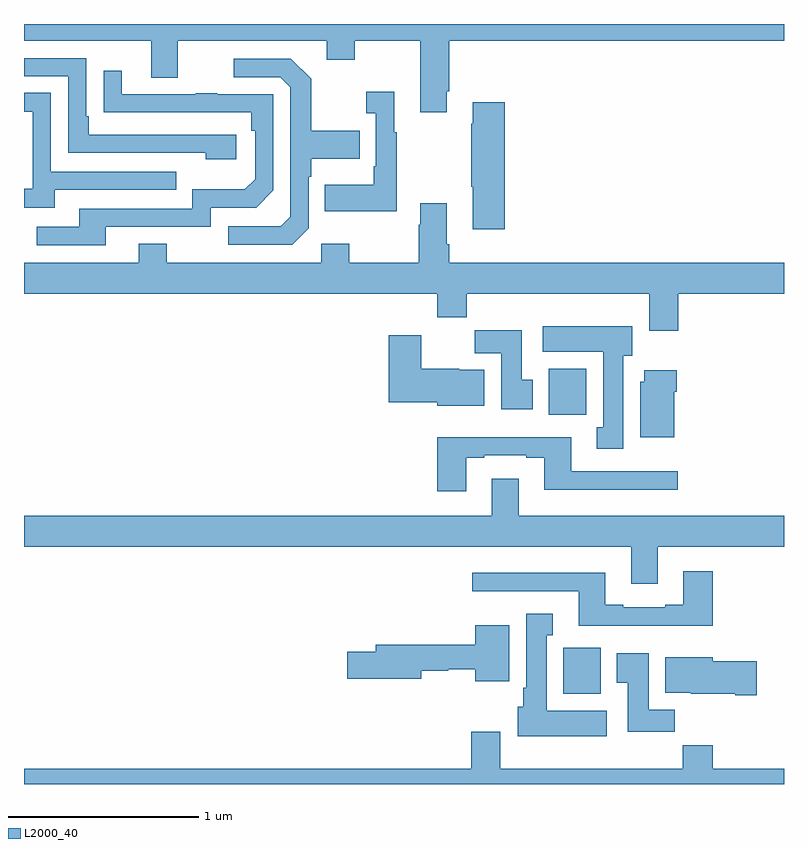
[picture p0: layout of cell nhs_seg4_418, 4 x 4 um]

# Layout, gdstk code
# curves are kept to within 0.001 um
import gdstk
lib = gdstk.Library(unit=1e-6, precision=1e-09)
def R(c, l, rs):  # rectangles x0, y0, x1, y1
    for r in rs: c.add(gdstk.rectangle(r[:2], r[2:], *l))
def P(c, l, *ps):  # polygons
    for p in ps: c.add(gdstk.Polygon(p, *l))
L2000_40 = (2000, 40)

nhs_seg4_418 = lib.new_cell('nhs_seg4_418')
R(nhs_seg4_418, L2000_40, [(133.838,801.374,134.035,801.616), (133.763,802.844,133.96,803.086)])
P(nhs_seg4_418, L2000_40, [(133.225,804.547),(133.238,804.547),(133.238,804.812),(135,804.812),(135,804.9),(131,804.9),(131,804.812),(131.669,804.812),(131.669,804.618),(131.809,804.618),(131.809,804.812),(132.593,804.812),(132.593,804.713),(132.741,804.713),(132.741,804.812),(133.085,804.812),(133.085,804.435),(133.225,804.435)],
  [(132.118,804.318),(131.341,804.318),(131.341,804.415),(131.328,804.415),(131.328,804.72),(131,804.72),(131,804.624),(131.232,804.624),(131.232,804.222),(131.957,804.222),(131.957,804.188),(132.118,804.188)],
  [(132.498,803.826),(132.498,804.095),(132.511,804.095),(132.511,804.191),(132.767,804.191),(132.767,804.339),(132.511,804.339),(132.511,804.611),(132.405,804.717),(132.105,804.717),(132.105,804.621),(132.348,804.621),(132.402,804.567),(132.402,803.886),(132.351,803.835),(132.075,803.835),(132.075,803.739),(132.411,803.739)],
  [(131.431,803.832),(131.982,803.832),(131.982,803.934),(132.222,803.934),(132.312,804.024),(132.312,804.531),(132.017,804.531),(132.017,804.536),(131.905,804.536),(131.905,804.531),(131.515,804.531),(131.515,804.655),(131.419,804.655),(131.419,804.436),(132.196,804.435),(132.196,804.338),(132.216,804.338),(132.216,804.084),(132.163,804.031),(131.886,804.031),(131.886,803.928),(131.291,803.928),(131.291,803.832),(131.067,803.832),(131.067,803.736),(131.431,803.736)],
  [(132.961,804.331),(132.949,804.331),(132.949,804.544),(132.801,804.544),(132.801,804.431),(132.852,804.431),(132.852,804.151),(132.84,804.151),(132.84,804.055),(132.583,804.055),(132.583,803.915),(132.961,803.915)],
  [(131.161,804.027),(131.801,804.027),(131.801,804.123),(131.142,804.123),(131.142,804.539),(131,804.539),(131,804.438),(131.046,804.438),(131.046,804.033),(131,804.033),(131,803.933),(131.161,803.933)],
  [(133.529,804.487),(133.361,804.487),(133.361,804.374),(133.354,804.374),(133.354,804.043),(133.361,804.043),(133.361,803.82),(133.529,803.82)],
  [(134.444,803.48),(135,803.48),(135,803.644),(133.238,803.644),(133.238,803.74),(133.225,803.74),(133.225,803.956),(133.085,803.956),(133.085,803.843),(133.078,803.843),(133.078,803.644),(132.711,803.644),(132.711,803.743),(132.564,803.743),(132.564,803.644),(131.751,803.644),(131.751,803.743),(131.603,803.743),(131.603,803.644),(131,803.644),(131,803.48),(133.175,803.48),(133.175,803.356),(133.331,803.356),(133.331,803.48),(134.291,803.48),(134.291,803.286),(134.444,803.286)],
  [(134.155,803.154),(134.2,803.154),(134.2,803.308),(133.731,803.308),(133.731,803.174),(134.048,803.174),(134.048,802.778),(134.015,802.778),(134.015,802.665),(134.155,802.665)],
  [(133.678,803.028),(133.621,803.028),(133.621,803.287),(133.372,803.287),(133.372,803.168),(133.511,803.168),(133.511,802.872),(133.678,802.872)],
  [(133.423,803.08),(133.29,803.08),(133.29,803.086),(133.09,803.086),(133.09,803.263),(132.92,803.263),(132.92,802.91),(133.176,802.91),(133.176,802.892),(133.423,802.892)],
  [(134.422,802.964),(134.435,802.964),(134.435,803.077),(134.264,803.077),(134.264,803.016),(134.243,803.016),(134.243,802.724),(134.422,802.724)],
  [(133.327,802.617),(133.423,802.617),(133.423,802.629),(133.643,802.629),(133.643,802.617),(133.739,802.617),(133.739,802.448),(134.44,802.448),(134.44,802.545),(133.879,802.545),(133.879,802.726),(133.175,802.726),(133.175,802.44),(133.327,802.44)],
  [(134.335,802.148),(135,802.148),(135,802.312),(133.603,802.312),(133.603,802.507),(133.463,802.507),(133.463,802.312),(131,802.312),(131,802.148),(134.195,802.148),(134.195,801.954),(134.335,801.954)],
  [(134.624,802.021),(134.471,802.021),(134.471,801.844),(134.375,801.844),(134.375,801.831),(134.155,801.831),(134.155,801.844),(134.059,801.844),(134.059,802.012),(133.359,802.012),(133.359,801.915),(133.919,801.915),(133.919,801.734),(134.624,801.734)],
  [(134.068,801.286),(133.75,801.286),(133.75,801.683),(133.783,801.683),(133.783,801.796),(133.643,801.796),(133.643,801.406),(133.628,801.406),(133.628,801.306),(133.598,801.306),(133.598,801.152),(134.068,801.152)],
  [(133.555,801.736),(133.376,801.736),(133.376,801.632),(132.851,801.632),(132.851,801.596),(132.702,801.596),(132.702,801.454),(133.09,801.454),(133.09,801.496),(133.233,801.496),(133.233,801.504),(133.376,801.504),(133.376,801.44),(133.555,801.44)],
  [(134.426,801.292),(134.287,801.292),(134.287,801.589),(134.12,801.589),(134.12,801.433),(134.177,801.433),(134.177,801.174),(134.426,801.174)],
  [(134.857,801.545),(134.626,801.545),(134.626,801.568),(134.375,801.568),(134.375,801.38),(134.508,801.38),(134.508,801.374),(134.744,801.374),(134.744,801.367),(134.857,801.367)],
  [(135,800.98),(134.624,800.98),(134.624,801.104),(134.467,801.104),(134.467,800.98),(133.507,800.98),(133.507,801.175),(133.355,801.175),(133.355,800.98),(131,800.98),(131,800.9),(135,800.9)])

lib.write_gds('nhs_seg4_418.gds')
